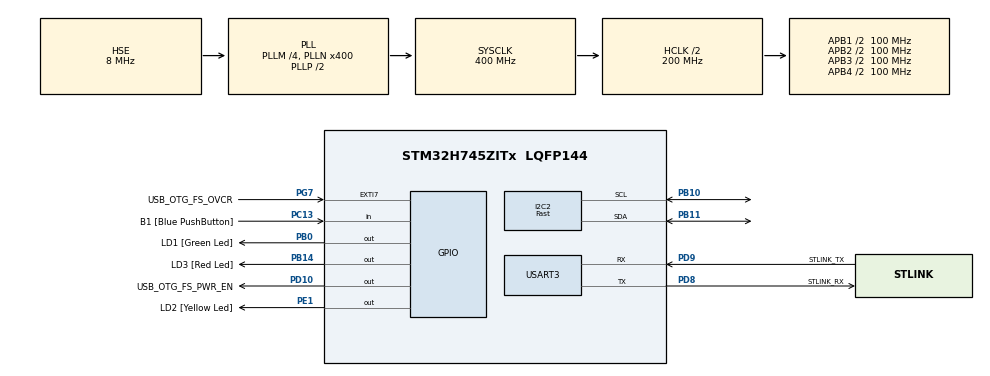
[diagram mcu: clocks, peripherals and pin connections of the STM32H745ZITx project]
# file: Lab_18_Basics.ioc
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CortexM4.IPs=FATFS_M4\:I,FREERTOS_M4\:I,IWDG2\:I,RCC,WWDG2\:I,DMA,BDMA,MDMA,NVIC2\:I,USART3,ETH,DEBUG,PDM2PCM_M4\:I,PWR,RESMGR_UTILITY,SYS_M4\:I,USB_DEVICE_M4\:I,USB_HOST_M4\:I,CORTEX_M4\:I,GPIO,OPENAMP_M4\:I,VREFBUF
CortexM7.IPs=FATFS_M7\:I,FREERTOS_M7\:I,IWDG1\:I,RCC\:I,WWDG1\:I,DMA\:I,BDMA\:I,MDMA\:I,NVIC1\:I,SYS\:I,USART3\:I,USB_OTG_FS\:I,ETH\:I,CORTEX_M7\:I,DEBUG\:I,PDM2PCM_M7\:I,PWR\:I,RESMGR_UTILITY\:I,USB_DEVICE_M7\:I,USB_HOST_M7\:I,GPIO\:I,OPENAMP_M7\:I,VREFBUF\:I,I2C2\:I
CortexM7.Pins=PB0,PB14,PE1
I2C2.I2C_Speed_Mode=I2C_Fast
I2C2.Timing=0x009034B6
Mcu.Family=STM32H7
Mcu.Name=STM32H745ZITx
Mcu.Package=LQFP144
NVIC1.PriorityGroup=NVIC_PRIORITYGROUP_4
NVIC2.PriorityGroup=NVIC_PRIORITYGROUP_4
PA1.PinAttribute=CortexM7
PA1.Signal=ETH_REF_CLK
PA11.PinAttribute=CortexM7
PA11.Signal=USB_OTG_FS_DM
PA12.PinAttribute=CortexM7
PA12.Signal=USB_OTG_FS_DP
PA2.PinAttribute=CortexM7
PA2.Signal=ETH_MDIO
PA7.PinAttribute=CortexM7
PA7.Signal=ETH_CRS_DV
PA8.PinAttribute=CortexM7
PA8.Signal=USB_OTG_FS_SOF
PA9.PinAttribute=CortexM7
PA9.Signal=USB_OTG_FS_VBUS
PB0.GPIO_Label=LD1 [Green Led]
PB0.PinAttribute=CortexM7
PB0.Signal=GPIO_Output
PB10.Mode=I2C
PB10.PinAttribute=CortexM7
PB10.Signal=I2C2_SCL
PB11.Mode=I2C
PB11.PinAttribute=CortexM7
PB11.Signal=I2C2_SDA
PB13.PinAttribute=CortexM7
PB13.Signal=ETH_TXD1
PB14.GPIO_Label=LD3 [Red Led]
PB14.PinAttribute=CortexM7
PB14.Signal=GPIO_Output
PC1.PinAttribute=CortexM7
PC1.Signal=ETH_MDC
PC13.GPIO_Label=B1 [Blue PushButton]
PC13.PinAttribute=Free
PC13.Signal=GPIO_Input
PC14-OSC32_IN\ (OSC32_IN).PinAttribute=CortexM7
PC14-OSC32_IN\ (OSC32_IN).Signal=RCC_OSC32_IN
PC15-OSC32_OUT\ (OSC32_OUT).PinAttribute=CortexM7
PC15-OSC32_OUT\ (OSC32_OUT).Signal=RCC_OSC32_OUT
PC4.PinAttribute=CortexM7
PC4.Signal=ETH_RXD0
PC5.PinAttribute=CortexM7
PC5.Signal=ETH_RXD1
PD10.GPIO_Label=USB_OTG_FS_PWR_EN
PD10.PinAttribute=Free
PD10.Signal=GPIO_Output
PD8.GPIO_Label=STLINK_RX
PD8.Mode=Asynchronous
PD8.PinAttribute=CortexM7
PD8.Signal=USART3_TX
PD9.GPIO_Label=STLINK_TX
PD9.Mode=Asynchronous
PD9.PinAttribute=CortexM7
PD9.Signal=USART3_RX
PE1.GPIO_Label=LD2 [Yellow Led]
PE1.PinAttribute=CortexM7
PE1.Signal=GPIO_Output
PG11.PinAttribute=CortexM7
PG11.Signal=ETH_TX_EN
PG13.PinAttribute=CortexM7
PG13.Signal=ETH_TXD0
PG7.GPIO_Label=USB_OTG_FS_OVCR
PG7.PinAttribute=Free
PG7.Signal=GPXTI7
PH0-OSC_IN\ (PH0).Mode=HSE-External-Clock-Source
PH0-OSC_IN\ (PH0).PinAttribute=CortexM7
PH0-OSC_IN\ (PH0).Signal=RCC_OSC_IN
PH1-OSC_OUT\ (PH1).PinAttribute=CortexM7
PH1-OSC_OUT\ (PH1).Signal=RCC_OSC_OUT
ProjectManager.HeapSize=M4-0x200,M7-0x200
ProjectManager.StackSize=M4-0x400,M7-0x400
ProjectManager.TargetToolchain=STM32CubeIDE
RCC.ADCFreq_Value=16125000
RCC.APB1Freq_Value=100000000
RCC.APB2Freq_Value=100000000
RCC.APB3Freq_Value=100000000
RCC.APB4Freq_Value=100000000
RCC.CortexFreq_Value=400000000
RCC.D1PPRE=RCC_APB3_DIV2
RCC.D2PPRE1=RCC_APB1_DIV2
RCC.D2PPRE2=RCC_APB2_DIV2
RCC.D3PPRE=RCC_APB4_DIV2
RCC.DIVM1=4
RCC.DIVM3=22
RCC.DIVN1=400
RCC.DIVN3=169
RCC.DIVQ3=4
RCC.HCLKFreq_Value=200000000
RCC.HPRE=RCC_HCLK_DIV2
RCC.HSE_VALUE=8000000
RCC.PLL2FRACN=0
RCC.PLL3FRACN=0
RCC.PLLFRACN=0
RCC.PLLSourceVirtual=RCC_PLLSOURCE_HSE
RCC.SYSCLKFreq_VALUE=400000000
RCC.SYSCLKSource=RCC_SYSCLKSOURCE_PLLCLK
RCC.SupplySource=PWR_DIRECT_SMPS_SUPPLY
RCC.USBCLockSelection=RCC_USBCLKSOURCE_PLL3
RCC.USBFreq_Value=15363636.363636363
USART3.VirtualMode-Asynchronous=VM_ASYNC
VP_SYS_M4_VS_Systick.Mode=SysTick
board=NUCLEO-H745ZI-Q

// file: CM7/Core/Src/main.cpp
/* USER CODE BEGIN Header */
/**
  ******************************************************************************
  * @file           : main.c
  * @brief          : Main program body
  ******************************************************************************
  * @attention
  *
  * Copyright (c) 2023 STMicroelectronics.
  * All rights reserved.
  *
  * This software is licensed under terms that can be found in the LICENSE file
  * in the root directory of this software component.
  * If no LICENSE file comes with this software, it is provided AS-IS.
  *
  ******************************************************************************
  */
/* USER CODE END Header */
#include "main.h"

/* USER CODE BEGIN Includes */
#include "ICM_20948.h"
#include "math.h"
#include "stdio.h"
#include "string.h"
/* USER CODE END Includes */

/* USER CODE BEGIN PD */

#ifndef HSEM_ID_0
#define HSEM_ID_0 (0U) /* HW semaphore 0*/
#endif
/* USER CODE END PD */

I2C_HandleTypeDef hi2c2;

UART_HandleTypeDef huart3;

/* USER CODE BEGIN PV */
ICM_20948_I2C myICM;
/* USER CODE END PV */

void SystemClock_Config(void);
static void MX_GPIO_Init(void);
static void MX_I2C2_Init(void);
static void MX_USART3_UART_Init(void);
/* USER CODE BEGIN PFP */
#ifdef __GNUC__
#define PUTCHAR_PROTOTYPE int __io_putchar(int ch)
#else
#define PUTCHAR_PROTOTYPE int fputc(int ch, FILE *f)
#endif

extern "C" {
PUTCHAR_PROTOTYPE
{
  HAL_UART_Transmit(&huart3, (uint8_t *)&ch, 1, HAL_MAX_DELAY);
  return ch;
}
}
/* USER CODE END PFP */

int main(void)
{
/* USER CODE BEGIN Boot_Mode_Sequence_0 */
  int32_t timeout;
/* USER CODE END Boot_Mode_Sequence_0 */

/* USER CODE BEGIN Boot_Mode_Sequence_1 */
  /* Wait until CPU2 boots and enters in stop mode or timeout*/
  timeout = 0xFFFF;
  while((__HAL_RCC_GET_FLAG(RCC_FLAG_D2CKRDY) != RESET) && (timeout-- > 0));
  if ( timeout < 0 )
  {
  Error_Handler();
  }
/* USER CODE END Boot_Mode_Sequence_1 */
  /* MCU Configuration--------------------------------------------------------*/

  /* Reset of all peripherals, Initializes the Flash interface and the Systick. */
  HAL_Init();

  /* Configure the system clock */
  SystemClock_Config();
/* USER CODE BEGIN Boot_Mode_Sequence_2 */
/* When system initialization is finished, Cortex-M7 will release Cortex-M4 by means of
HSEM notification */
/*HW semaphore Clock enable*/
__HAL_RCC_HSEM_CLK_ENABLE();
/*Take HSEM */
HAL_HSEM_FastTake(HSEM_ID_0);
/*Release HSEM in order to notify the CPU2(CM4)*/
HAL_HSEM_Release(HSEM_ID_0,0);
/* wait until CPU2 wakes up from stop mode */
timeout = 0xFFFF;
while((__HAL_RCC_GET_FLAG(RCC_FLAG_D2CKRDY) == RESET) && (timeout-- > 0));
if ( timeout < 0 )
{
Error_Handler();
}
/* USER CODE END Boot_Mode_Sequence_2 */

  /* Initialize all configured peripherals */
  MX_GPIO_Init();
  MX_I2C2_Init();
  MX_USART3_UART_Init();
  /* USER CODE BEGIN 2 */
  bool initialized = false;
  while (!initialized)
  {
    myICM.begin();

    printf("Initialization of the sensor returned: ");
    printf("%s\r\n", myICM.statusString());
    if (myICM.status != ICM_20948_Stat_Ok)
    {
      printf("Trying again...\r\n");
      HAL_Delay(500);
    }
    else
    {
      initialized = true;
    }
  }
  /* USER CODE END 2 */

  /* Infinite loop */
  while (1)
  {

    /* USER CODE BEGIN 3 */
    if (myICM.dataReady())
    {
      myICM.getAGMT(); // The values are only updated when you call 'getAGMT'

      // Uncomment this to see the raw values, taken directly from the agmt structure
      //printf("RAW. Acc [ %6d, %6d, %6d ], Gyr [ %6d, %6d, %6d ], Mag [ %6d, %6d, %6d ], Tmp [ %6d ]\r\n",
      //       myICM.agmt.acc.axes.x, myICM.agmt.acc.axes.y, myICM.agmt.acc.axes.z,
      //       myICM.agmt.gyr.axes.x, myICM.agmt.gyr.axes.y, myICM.agmt.gyr.axes.z,
      //       myICM.agmt.mag.axes.x, myICM.agmt.mag.axes.y, myICM.agmt.mag.axes.z,
      //       myICM.agmt.tmp.val);

      // This function takes into account the scale settings from when the measurement was made to calculate the values with units
      printf("Scaled. Acc (mg) [ %8.2f, %8.2f, %8.2f ], Gyr (DPS) [ %8.2f, %8.2f, %8.2f ], Mag (uT) [ %8.2f, %8.2f, %8.2f ], Tmp (C) [ %8.2f ]\r\n",
             myICM.accX(), myICM.accY(), myICM.accZ(),
             myICM.gyrX(), myICM.gyrY(), myICM.gyrZ(),
             myICM.magX(), myICM.magY(), myICM.magZ(),
             myICM.temp());

      HAL_Delay(30);
    }
    else
    {
      printf("Waiting for data\r\n");
      HAL_Delay(500);
    }
  }
  /* USER CODE END 3 */
}

void SystemClock_Config(void)
{
  RCC_OscInitTypeDef RCC_OscInitStruct = {0};
  RCC_ClkInitTypeDef RCC_ClkInitStruct = {0};

  /** Supply configuration update enable
  */
  HAL_PWREx_ConfigSupply(PWR_DIRECT_SMPS_SUPPLY);

  /** Configure the main internal regulator output voltage
  */
  __HAL_PWR_VOLTAGESCALING_CONFIG(PWR_REGULATOR_VOLTAGE_SCALE1);

  while(!__HAL_PWR_GET_FLAG(PWR_FLAG_VOSRDY)) {}

  /** Initializes the RCC Oscillators according to the specified parameters
  * in the RCC_OscInitTypeDef structure.
  */
  RCC_OscInitStruct.OscillatorType = RCC_OSCILLATORTYPE_HSE;
  RCC_OscInitStruct.HSEState = RCC_HSE_BYPASS;
  RCC_OscInitStruct.PLL.PLLState = RCC_PLL_ON;
  RCC_OscInitStruct.PLL.PLLSource = RCC_PLLSOURCE_HSE;
  RCC_OscInitStruct.PLL.PLLM = 4;
  RCC_OscInitStruct.PLL.PLLN = 400;
  RCC_OscInitStruct.PLL.PLLP = 2;
  RCC_OscInitStruct.PLL.PLLQ = 2;
  RCC_OscInitStruct.PLL.PLLR = 2;
  RCC_OscInitStruct.PLL.PLLRGE = RCC_PLL1VCIRANGE_1;
  RCC_OscInitStruct.PLL.PLLVCOSEL = RCC_PLL1VCOWIDE;
  RCC_OscInitStruct.PLL.PLLFRACN = 0;
  if (HAL_RCC_OscConfig(&RCC_OscInitStruct) != HAL_OK)
  {
    Error_Handler();
  }

  /** Initializes the CPU, AHB and APB buses clocks
  */
  RCC_ClkInitStruct.ClockType = RCC_CLOCKTYPE_HCLK|RCC_CLOCKTYPE_SYSCLK
                              |RCC_CLOCKTYPE_PCLK1|RCC_CLOCKTYPE_PCLK2
                              |RCC_CLOCKTYPE_D3PCLK1|RCC_CLOCKTYPE_D1PCLK1;
  RCC_ClkInitStruct.SYSCLKSource = RCC_SYSCLKSOURCE_PLLCLK;
  RCC_ClkInitStruct.SYSCLKDivider = RCC_SYSCLK_DIV1;
  RCC_ClkInitStruct.AHBCLKDivider = RCC_HCLK_DIV2;
  RCC_ClkInitStruct.APB3CLKDivider = RCC_APB3_DIV2;
  RCC_ClkInitStruct.APB1CLKDivider = RCC_APB1_DIV2;
  RCC_ClkInitStruct.APB2CLKDivider = RCC_APB2_DIV2;
  RCC_ClkInitStruct.APB4CLKDivider = RCC_APB4_DIV2;

  if (HAL_RCC_ClockConfig(&RCC_ClkInitStruct, FLASH_LATENCY_2) != HAL_OK)
  {
    Error_Handler();
  }
}

static void MX_I2C2_Init(void)
{

  hi2c2.Instance = I2C2;
  hi2c2.Init.Timing = 0x009034B6;
  hi2c2.Init.OwnAddress1 = 0;
  hi2c2.Init.AddressingMode = I2C_ADDRESSINGMODE_7BIT;
  hi2c2.Init.DualAddressMode = I2C_DUALADDRESS_DISABLE;
  hi2c2.Init.OwnAddress2 = 0;
  hi2c2.Init.OwnAddress2Masks = I2C_OA2_NOMASK;
  hi2c2.Init.GeneralCallMode = I2C_GENERALCALL_DISABLE;
  hi2c2.Init.NoStretchMode = I2C_NOSTRETCH_DISABLE;
  if (HAL_I2C_Init(&hi2c2) != HAL_OK)
  {
    Error_Handler();
  }

  /** Configure Analogue filter
  */
  if (HAL_I2CEx_ConfigAnalogFilter(&hi2c2, I2C_ANALOGFILTER_ENABLE) != HAL_OK)
  {
    Error_Handler();
  }

  /** Configure Digital filter
  */
  if (HAL_I2CEx_ConfigDigitalFilter(&hi2c2, 0) != HAL_OK)
  {
    Error_Handler();
  }

}

static void MX_USART3_UART_Init(void)
{

  huart3.Instance = USART3;
  huart3.Init.BaudRate = 115200;
  huart3.Init.WordLength = UART_WORDLENGTH_8B;
  huart3.Init.StopBits = UART_STOPBITS_1;
  huart3.Init.Parity = UART_PARITY_NONE;
  huart3.Init.Mode = UART_MODE_TX_RX;
  huart3.Init.HwFlowCtl = UART_HWCONTROL_NONE;
  huart3.Init.OverSampling = UART_OVERSAMPLING_16;
  huart3.Init.OneBitSampling = UART_ONE_BIT_SAMPLE_DISABLE;
  huart3.Init.ClockPrescaler = UART_PRESCALER_DIV1;
  huart3.AdvancedInit.AdvFeatureInit = UART_ADVFEATURE_NO_INIT;
  if (HAL_UART_Init(&huart3) != HAL_OK)
  {
    Error_Handler();
  }
  if (HAL_UARTEx_SetTxFifoThreshold(&huart3, UART_TXFIFO_THRESHOLD_1_8) != HAL_OK)
  {
    Error_Handler();
  }
  if (HAL_UARTEx_SetRxFifoThreshold(&huart3, UART_RXFIFO_THRESHOLD_1_8) != HAL_OK)
  {
    Error_Handler();
  }
  if (HAL_UARTEx_DisableFifoMode(&huart3) != HAL_OK)
  {
    Error_Handler();
  }

}

static void MX_GPIO_Init(void)
{
  GPIO_InitTypeDef GPIO_InitStruct = {0};

  /* GPIO Ports Clock Enable */
  __HAL_RCC_GPIOC_CLK_ENABLE();
  __HAL_RCC_GPIOH_CLK_ENABLE();
  __HAL_RCC_GPIOA_CLK_ENABLE();
  __HAL_RCC_GPIOB_CLK_ENABLE();
  __HAL_RCC_GPIOD_CLK_ENABLE();
  __HAL_RCC_GPIOG_CLK_ENABLE();
  __HAL_RCC_GPIOE_CLK_ENABLE();

  /*Configure GPIO pin Output Level */
  HAL_GPIO_WritePin(GPIOB, LD1_Pin|LD3_Pin, GPIO_PIN_RESET);

  /*Configure GPIO pin Output Level */
  HAL_GPIO_WritePin(LD2_GPIO_Port, LD2_Pin, GPIO_PIN_RESET);

  /*Configure GPIO pins : PC1 PC4 PC5 */
  GPIO_InitStruct.Pin = GPIO_PIN_1|GPIO_PIN_4|GPIO_PIN_5;
  GPIO_InitStruct.Mode = GPIO_MODE_AF_PP;
  GPIO_InitStruct.Pull = GPIO_NOPULL;
  GPIO_InitStruct.Speed = GPIO_SPEED_FREQ_LOW;
  GPIO_InitStruct.Alternate = GPIO_AF11_ETH;
  HAL_GPIO_Init(GPIOC, &GPIO_InitStruct);

  /*Configure GPIO pins : PA1 PA2 PA7 */
  GPIO_InitStruct.Pin = GPIO_PIN_1|GPIO_PIN_2|GPIO_PIN_7;
  GPIO_InitStruct.Mode = GPIO_MODE_AF_PP;
  GPIO_InitStruct.Pull = GPIO_NOPULL;
  GPIO_InitStruct.Speed = GPIO_SPEED_FREQ_LOW;
  GPIO_InitStruct.Alternate = GPIO_AF11_ETH;
  HAL_GPIO_Init(GPIOA, &GPIO_InitStruct);

  /*Configure GPIO pins : LD1_Pin LD3_Pin */
  GPIO_InitStruct.Pin = LD1_Pin|LD3_Pin;
  GPIO_InitStruct.Mode = GPIO_MODE_OUTPUT_PP;
  GPIO_InitStruct.Pull = GPIO_NOPULL;
  GPIO_InitStruct.Speed = GPIO_SPEED_FREQ_LOW;
  HAL_GPIO_Init(GPIOB, &GPIO_InitStruct);

  /*Configure GPIO pin : PB13 */
  GPIO_InitStruct.Pin = GPIO_PIN_13;
  GPIO_InitStruct.Mode = GPIO_MODE_AF_PP;
  GPIO_InitStruct.Pull = GPIO_NOPULL;
  GPIO_InitStruct.Speed = GPIO_SPEED_FREQ_LOW;
  GPIO_InitStruct.Alternate = GPIO_AF11_ETH;
  HAL_GPIO_Init(GPIOB, &GPIO_InitStruct);

  /*Configure GPIO pins : PA8 PA11 PA12 */
  GPIO_InitStruct.Pin = GPIO_PIN_8|GPIO_PIN_11|GPIO_PIN_12;
  GPIO_InitStruct.Mode = GPIO_MODE_AF_PP;
  GPIO_InitStruct.Pull = GPIO_NOPULL;
  GPIO_InitStruct.Speed = GPIO_SPEED_FREQ_LOW;
  GPIO_InitStruct.Alternate = GPIO_AF10_OTG1_FS;
  HAL_GPIO_Init(GPIOA, &GPIO_InitStruct);

  /*Configure GPIO pins : PG11 PG13 */
  GPIO_InitStruct.Pin = GPIO_PIN_11|GPIO_PIN_13;
  GPIO_InitStruct.Mode = GPIO_MODE_AF_PP;
  GPIO_InitStruct.Pull = GPIO_NOPULL;
  GPIO_InitStruct.Speed = GPIO_SPEED_FREQ_LOW;
  GPIO_InitStruct.Alternate = GPIO_AF11_ETH;
  HAL_GPIO_Init(GPIOG, &GPIO_InitStruct);

  /*Configure GPIO pin : LD2_Pin */
  GPIO_InitStruct.Pin = LD2_Pin;
  GPIO_InitStruct.Mode = GPIO_MODE_OUTPUT_PP;
  GPIO_InitStruct.Pull = GPIO_NOPULL;
  GPIO_InitStruct.Speed = GPIO_SPEED_FREQ_LOW;
  HAL_GPIO_Init(LD2_GPIO_Port, &GPIO_InitStruct);

}

/* USER CODE BEGIN 4 */
HAL_StatusTypeDef I2C_write(uint8_t slave_addr, uint8_t reg_addr,
    uint8_t length, uint8_t *data) {
  return HAL_I2C_Mem_Write(&hi2c2, slave_addr << 1, reg_addr,
  I2C_MEMADD_SIZE_8BIT, data, length, 10);
}

HAL_StatusTypeDef I2C_read(uint8_t slave_addr, uint8_t reg_addr, uint8_t length,
    uint8_t *data) {
  return HAL_I2C_Mem_Read(&hi2c2, slave_addr << 1, reg_addr,
  I2C_MEMADD_SIZE_8BIT, data, length, 10);
}
/* USER CODE END 4 */

void Error_Handler(void)
{
  __disable_irq();
  while (1)
  {
  }
}
